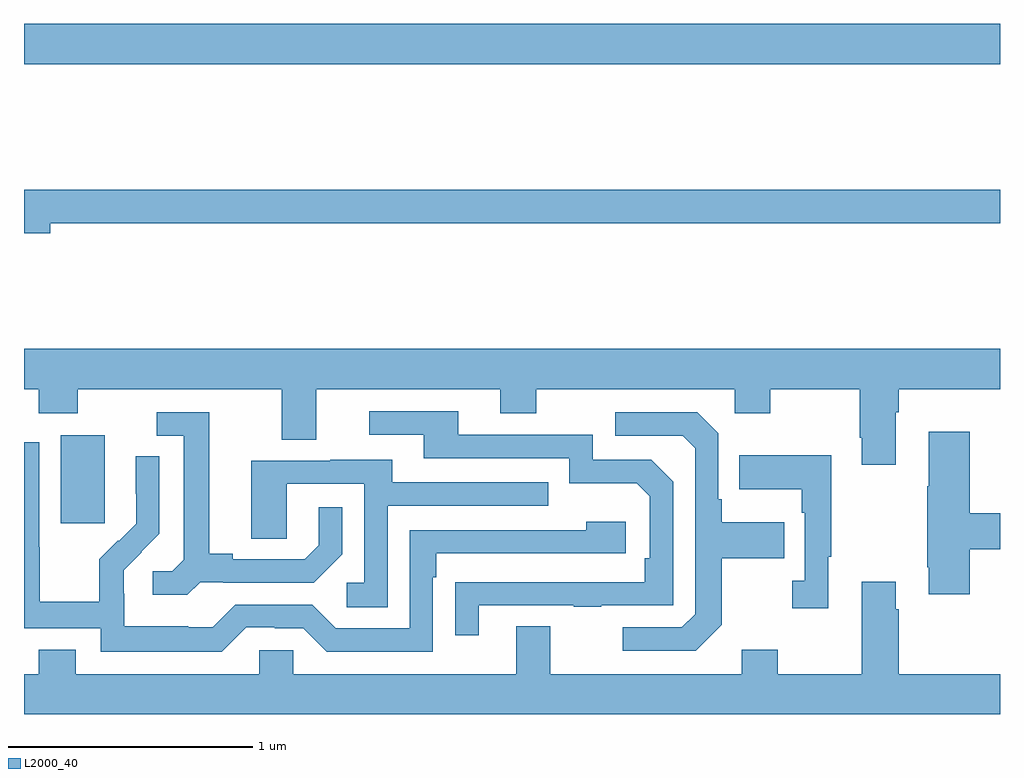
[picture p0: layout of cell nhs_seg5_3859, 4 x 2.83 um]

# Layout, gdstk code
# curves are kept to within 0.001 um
import gdstk
lib = gdstk.Library(unit=1e-6, precision=1e-09)
def R(c, l, rs):  # rectangles x0, y0, x1, y1
    for r in rs: c.add(gdstk.rectangle(r[:2], r[2:], *l))
def P(c, l, *ps):  # polygons
    for p in ps: c.add(gdstk.Polygon(p, *l))
L2000_40 = (2000, 40)

nhs_seg5_3859 = lib.new_cell('nhs_seg5_3859')
R(nhs_seg5_3859, L2000_40, [(337.151,904.161,337.33,904.522), (337,906.044,341,906.208)])
P(nhs_seg5_3859, L2000_40, [(337.108,905.392),(341,905.392),(341,905.528),(337,905.528),(337,905.35),(337.108,905.35)],
  [(340.573,904.616),(340.586,904.616),(340.586,904.712),(341,904.712),(341,904.876),(337,904.876),(337,904.712),(337.061,904.712),(337.061,904.613),(337.221,904.613),(337.221,904.712),(338.057,904.712),(338.057,904.504),(338.197,904.504),(338.197,904.712),(338.951,904.712),(338.951,904.613),(339.099,904.613),(339.099,904.712),(339.912,904.712),(339.912,904.613),(340.059,904.613),(340.059,904.712),(340.426,904.712),(340.426,904.513),(340.433,904.513),(340.433,904.401),(340.573,904.401)],
  [(338.863,903.825),(339.253,903.825),(339.253,903.82),(339.365,903.82),(339.365,903.825),(339.66,903.825),(339.66,904.332),(339.57,904.422),(339.33,904.422),(339.33,904.524),(338.779,904.524),(338.779,904.62),(338.415,904.62),(338.415,904.524),(338.639,904.524),(338.639,904.428),(339.234,904.428),(339.234,904.325),(339.511,904.325),(339.564,904.272),(339.564,904.018),(339.544,904.018),(339.544,903.921),(338.767,903.92),(338.767,903.702),(338.863,903.702)],
  [(339.859,903.745),(339.859,904.018),(340.115,904.018),(340.115,904.165),(339.859,904.165),(339.859,904.261),(339.846,904.261),(339.846,904.53),(339.759,904.617),(339.423,904.617),(339.423,904.521),(339.699,904.521),(339.75,904.47),(339.75,903.789),(339.696,903.735),(339.453,903.735),(339.453,903.639),(339.753,903.639)],
  [(337.722,903.921),(337.816,903.921),(337.816,903.918),(338.188,903.918),(338.304,904.034),(338.304,904.228),(338.207,904.228),(338.207,904.071),(338.15,904.014),(337.855,904.014),(337.855,904.037),(337.759,904.037),(337.759,904.617),(337.545,904.617),(337.545,904.521),(337.655,904.521),(337.655,904.013),(337.608,903.966),(337.527,903.966),(337.527,903.869),(337.67,903.869)],
  [(340.877,904.055),(341,904.055),(341,904.202),(340.877,904.202),(340.877,904.537),(340.709,904.537),(340.709,904.313),(340.702,904.313),(340.702,903.982),(340.709,903.982),(340.709,903.87),(340.877,903.87)],
  [(337.911,903.735),(338.027,903.735),(338.027,903.732),(338.145,903.732),(338.241,903.636),(338.676,903.636),(338.676,903.941),(338.689,903.941),(338.689,904.038),(339.466,904.038),(339.466,904.168),(339.305,904.168),(339.305,904.134),(338.58,904.134),(338.58,903.732),(338.277,903.732),(338.181,903.828),(337.866,903.828),(337.773,903.735),(337.673,903.735),(337.673,903.739),(337.41,903.739),(337.41,903.873),(337.408,903.873),(337.408,903.97),(337.554,904.118),(337.554,904.436),(337.458,904.436),(337.458,904.282),(337.46,904.282),(337.46,904.16),(337.389,904.089),(337.386,904.092),(337.309,904.015),(337.309,903.841),(337.065,903.841),(337.065,904.064),(337.062,904.064),(337.062,904.494),(337,904.494),(337,903.732),(337.314,903.732),(337.314,903.635),(337.811,903.635)],
  [(340.297,904.025),(340.309,904.025),(340.309,904.441),(339.931,904.441),(339.931,904.301),(340.188,904.301),(340.188,904.205),(340.2,904.205),(340.2,903.926),(340.149,903.926),(340.149,903.813),(340.297,903.813)],
  [(338.49,904.233),(339.149,904.233),(339.149,904.329),(338.509,904.329),(338.509,904.423),(338.255,904.423),(338.255,904.419),(337.931,904.419),(337.931,904.099),(338.076,904.099),(338.076,904.323),(338.394,904.323),(338.394,903.918),(338.322,903.918),(338.322,903.817),(338.49,903.817)],
  [(341,903.544),(340.586,903.544),(340.586,903.809),(340.573,903.809),(340.573,903.922),(340.433,903.922),(340.433,903.544),(340.089,903.544),(340.089,903.643),(339.941,903.643),(339.941,903.544),(339.157,903.544),(339.157,903.739),(339.017,903.739),(339.017,903.544),(338.103,903.544),(338.103,903.642),(337.965,903.642),(337.965,903.544),(337.213,903.544),(337.213,903.643),(337.061,903.643),(337.061,903.544),(337,903.544),(337,903.38),(341,903.38)])

lib.write_gds('nhs_seg5_3859.gds')
